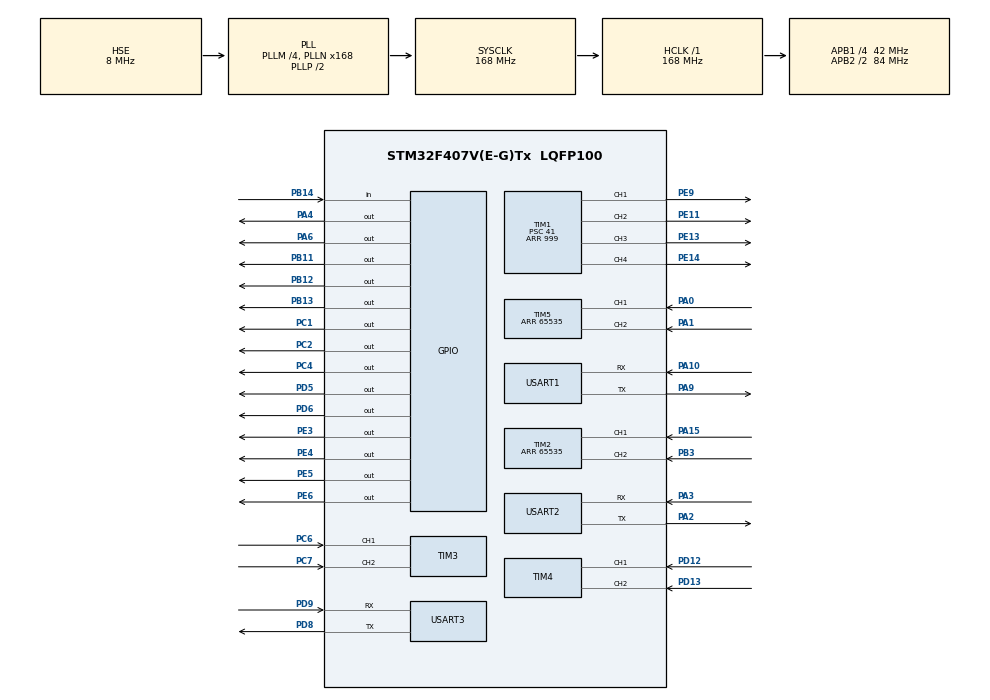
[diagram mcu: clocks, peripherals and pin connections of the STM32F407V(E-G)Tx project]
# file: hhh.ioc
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Dma.Request0=TIM1_CH1
Dma.Request1=TIM1_CH2
Dma.Request2=TIM1_CH3
Dma.Request3=TIM1_CH4/TRIG/COM
Dma.Request4=USART1_TX
Dma.TIM1_CH1.0.Direction=DMA_PERIPH_TO_MEMORY
Dma.TIM1_CH1.0.FIFOMode=DMA_FIFOMODE_DISABLE
Dma.TIM1_CH1.0.Instance=DMA2_Stream1
Dma.TIM1_CH1.0.MemDataAlignment=DMA_MDATAALIGN_HALFWORD
Dma.TIM1_CH1.0.MemInc=DMA_MINC_ENABLE
Dma.TIM1_CH1.0.Mode=DMA_NORMAL
Dma.TIM1_CH1.0.PeriphDataAlignment=DMA_PDATAALIGN_HALFWORD
Dma.TIM1_CH1.0.PeriphInc=DMA_PINC_DISABLE
Dma.TIM1_CH1.0.Priority=DMA_PRIORITY_LOW
Dma.TIM1_CH2.1.Direction=DMA_PERIPH_TO_MEMORY
Dma.TIM1_CH2.1.FIFOMode=DMA_FIFOMODE_DISABLE
Dma.TIM1_CH2.1.Instance=DMA2_Stream2
Dma.TIM1_CH2.1.MemDataAlignment=DMA_MDATAALIGN_HALFWORD
Dma.TIM1_CH2.1.MemInc=DMA_MINC_ENABLE
Dma.TIM1_CH2.1.Mode=DMA_NORMAL
Dma.TIM1_CH2.1.PeriphDataAlignment=DMA_PDATAALIGN_HALFWORD
Dma.TIM1_CH2.1.PeriphInc=DMA_PINC_DISABLE
Dma.TIM1_CH2.1.Priority=DMA_PRIORITY_LOW
Dma.TIM1_CH3.2.Direction=DMA_PERIPH_TO_MEMORY
Dma.TIM1_CH3.2.FIFOMode=DMA_FIFOMODE_DISABLE
Dma.TIM1_CH3.2.Instance=DMA2_Stream6
Dma.TIM1_CH3.2.MemDataAlignment=DMA_MDATAALIGN_HALFWORD
Dma.TIM1_CH3.2.MemInc=DMA_MINC_ENABLE
Dma.TIM1_CH3.2.Mode=DMA_NORMAL
Dma.TIM1_CH3.2.PeriphDataAlignment=DMA_PDATAALIGN_HALFWORD
Dma.TIM1_CH3.2.PeriphInc=DMA_PINC_DISABLE
Dma.TIM1_CH3.2.Priority=DMA_PRIORITY_LOW
Dma.TIM1_CH4/TRIG/COM.3.Direction=DMA_PERIPH_TO_MEMORY
Dma.TIM1_CH4/TRIG/COM.3.FIFOMode=DMA_FIFOMODE_DISABLE
Dma.TIM1_CH4/TRIG/COM.3.Instance=DMA2_Stream4
Dma.TIM1_CH4/TRIG/COM.3.MemDataAlignment=DMA_MDATAALIGN_HALFWORD
Dma.TIM1_CH4/TRIG/COM.3.MemInc=DMA_MINC_ENABLE
Dma.TIM1_CH4/TRIG/COM.3.Mode=DMA_NORMAL
Dma.TIM1_CH4/TRIG/COM.3.PeriphDataAlignment=DMA_PDATAALIGN_HALFWORD
Dma.TIM1_CH4/TRIG/COM.3.PeriphInc=DMA_PINC_DISABLE
Dma.TIM1_CH4/TRIG/COM.3.Priority=DMA_PRIORITY_LOW
Dma.USART1_TX.4.Direction=DMA_MEMORY_TO_PERIPH
Dma.USART1_TX.4.FIFOMode=DMA_FIFOMODE_DISABLE
Dma.USART1_TX.4.Instance=DMA2_Stream7
Dma.USART1_TX.4.MemDataAlignment=DMA_MDATAALIGN_BYTE
Dma.USART1_TX.4.MemInc=DMA_MINC_ENABLE
Dma.USART1_TX.4.Mode=DMA_NORMAL
Dma.USART1_TX.4.PeriphDataAlignment=DMA_PDATAALIGN_BYTE
Dma.USART1_TX.4.PeriphInc=DMA_PINC_DISABLE
Dma.USART1_TX.4.Priority=DMA_PRIORITY_LOW
Mcu.Family=STM32F4
Mcu.Name=STM32F407V(E-G)Tx
Mcu.Package=LQFP100
NVIC.DMA2_Stream1_IRQn=true\:0\:0\:false\:false\:true\:false\:true\:true
NVIC.DMA2_Stream2_IRQn=true\:0\:0\:false\:false\:true\:false\:true\:true
NVIC.DMA2_Stream4_IRQn=true\:0\:0\:false\:false\:true\:false\:true\:true
NVIC.DMA2_Stream6_IRQn=true\:0\:0\:false\:false\:true\:false\:true\:true
NVIC.DMA2_Stream7_IRQn=true\:0\:0\:false\:false\:true\:false\:true\:true
NVIC.PriorityGroup=NVIC_PRIORITYGROUP_4
NVIC.TIM1_UP_TIM10_IRQn=true\:15\:0\:false\:false\:true\:false\:true\:true
NVIC.TIM6_DAC_IRQn=true\:10\:0\:true\:false\:true\:true\:true\:true
NVIC.TIM7_IRQn=true\:9\:0\:true\:false\:true\:true\:true\:true
NVIC.TimeBase=TIM1_UP_TIM10_IRQn
NVIC.TimeBaseIP=TIM10
PA0-WKUP.Signal=S_TIM5_CH1
PA1.Signal=S_TIM5_CH2
PA10.Mode=Asynchronous
PA10.Signal=USART1_RX
PA13.Mode=Serial_Wire
PA13.Signal=SYS_JTMS-SWDIO
PA14.Mode=Serial_Wire
PA14.Signal=SYS_JTCK-SWCLK
PA15.Signal=S_TIM2_CH1_ETR
PA2.Mode=Asynchronous
PA2.Signal=USART2_TX
PA3.Mode=Asynchronous
PA3.Signal=USART2_RX
PA4.Signal=GPIO_Output
PA6.Signal=GPIO_Output
PA9.Mode=Asynchronous
PA9.Signal=USART1_TX
PB11.Signal=GPIO_Output
PB12.Signal=GPIO_Output
PB13.Signal=GPIO_Output
PB14.Signal=GPIO_Input
PB3.Signal=S_TIM2_CH2
PC1.Signal=GPIO_Output
PC14-OSC32_IN.Mode=LSE-External-Oscillator
PC14-OSC32_IN.Signal=RCC_OSC32_IN
PC15-OSC32_OUT.Mode=LSE-External-Oscillator
PC15-OSC32_OUT.Signal=RCC_OSC32_OUT
PC2.Signal=GPIO_Output
PC4.Signal=GPIO_Output
PC6.Signal=S_TIM3_CH1
PC7.Signal=S_TIM3_CH2
PD12.Signal=S_TIM4_CH1
PD13.Signal=S_TIM4_CH2
PD5.Signal=GPIO_Output
PD6.Signal=GPIO_Output
PD8.Mode=Asynchronous
PD8.Signal=USART3_TX
PD9.Mode=Asynchronous
PD9.Signal=USART3_RX
PE11.Signal=S_TIM1_CH2
PE13.Signal=S_TIM1_CH3
PE14.Signal=S_TIM1_CH4
PE3.Signal=GPIO_Output
PE4.Signal=GPIO_Output
PE5.Signal=GPIO_Output
PE6.Signal=GPIO_Output
PE9.Signal=S_TIM1_CH1
PH0-OSC_IN.Mode=HSE-External-Oscillator
PH0-OSC_IN.Signal=RCC_OSC_IN
PH1-OSC_OUT.Mode=HSE-External-Oscillator
PH1-OSC_OUT.Signal=RCC_OSC_OUT
ProjectManager.HeapSize=0x200
ProjectManager.StackSize=0x400
ProjectManager.TargetToolchain=MDK-ARM V5.32
RCC.48MHZClocksFreq_Value=48000000
RCC.AHBFreq_Value=168000000
RCC.APB1CLKDivider=RCC_HCLK_DIV4
RCC.APB1Freq_Value=42000000
RCC.APB1TimFreq_Value=84000000
RCC.APB2CLKDivider=RCC_HCLK_DIV2
RCC.APB2Freq_Value=84000000
RCC.APB2TimFreq_Value=168000000
RCC.CortexFreq_Value=168000000
RCC.HCLKFreq_Value=168000000
RCC.HSE_VALUE=8000000
RCC.HSI_VALUE=16000000
RCC.PLLM=4
RCC.PLLN=168
RCC.PLLQ=7
RCC.PLLSourceVirtual=RCC_PLLSOURCE_HSE
RCC.SYSCLKFreq_VALUE=168000000
RCC.SYSCLKSource=RCC_SYSCLKSOURCE_PLLCLK
RCC.VCOOutputFreq_Value=336000000
SH.S_TIM1_CH1.0=TIM1_CH1,PWM Generation1 CH1
SH.S_TIM1_CH2.0=TIM1_CH2,PWM Generation2 CH2
SH.S_TIM1_CH3.0=TIM1_CH3,PWM Generation3 CH3
SH.S_TIM1_CH4.0=TIM1_CH4,PWM Generation4 CH4
SH.S_TIM2_CH1_ETR.0=TIM2_CH1,Encoder_Interface
SH.S_TIM2_CH2.0=TIM2_CH2,Encoder_Interface
SH.S_TIM3_CH1.0=TIM3_CH1,Encoder_Interface
SH.S_TIM3_CH2.0=TIM3_CH2,Encoder_Interface
SH.S_TIM4_CH1.0=TIM4_CH1,Encoder_Interface
SH.S_TIM4_CH2.0=TIM4_CH2,Encoder_Interface
SH.S_TIM5_CH1.0=TIM5_CH1,Encoder_Interface
SH.S_TIM5_CH2.0=TIM5_CH2,Encoder_Interface
TIM1.Channel-PWM\ Generation1\ CH1=TIM_CHANNEL_1
TIM1.Channel-PWM\ Generation2\ CH2=TIM_CHANNEL_2
TIM1.Channel-PWM\ Generation3\ CH3=TIM_CHANNEL_3
TIM1.Channel-PWM\ Generation4\ CH4=TIM_CHANNEL_4
TIM1.Period=999
TIM1.Prescaler=41
TIM2.EncoderMode=TIM_ENCODERMODE_TI12
TIM2.Period=65535
TIM3.EncoderMode=TIM_ENCODERMODE_TI12
TIM4.EncoderMode=TIM_ENCODERMODE_TI12
TIM5.EncoderMode=TIM_ENCODERMODE_TI12
TIM5.Period=65535
TIM6.AutoReloadPreload=TIM_AUTORELOAD_PRELOAD_DISABLE
TIM6.Period=99
TIM6.Prescaler=168-1
TIM7.Period=999
TIM7.Prescaler=168-1
USART1.VirtualMode=VM_ASYNC
USART2.VirtualMode=VM_ASYNC
USART3.VirtualMode=VM_ASYNC
VP_SYS_VS_tim10.Mode=TIM10
VP_TIM11_VS_ClockSourceINT.Mode=Enable_Timer
VP_TIM6_VS_ClockSourceINT.Mode=Enable_Timer
VP_TIM7_VS_ClockSourceINT.Mode=Enable_Timer
board=custom

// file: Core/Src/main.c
/* USER CODE BEGIN Header */
/**
 ******************************************************************************
 * @file           : main.c
 * @brief          : Main program body
 ******************************************************************************
 * @attention
 *
 * Copyright (c) 2024 STMicroelectronics.
 * All rights reserved.
 *
 * This software is licensed under terms that can be found in the LICENSE file
 * in the root directory of this software component.
 * If no LICENSE file comes with this software, it is provided AS-IS.
 *
 ******************************************************************************
 */
/* USER CODE END Header */
#include "main.h"
#include "dma.h"
#include "tim.h"
#include "usart.h"
#include "gpio.h"

/* USER CODE BEGIN Includes */
#include "vofa.h"
#include "pid.h"
#include "motor.h"
#include "APP_classic.h"
/* USER CODE END Includes */

void SystemClock_Config(void);

/* USER CODE BEGIN 0 */
MG513 A_motor;
MG513 B_motor;
MG513 C_motor;
MG513 D_motor;
Car car;
float RC[3] = {0, 141.42, 0};
/* USER CODE END 0 */

int main(void)
{

  /* MCU Configuration--------------------------------------------------------*/

  /* Reset of all peripherals, Initializes the Flash interface and the Systick. */
  HAL_Init();

  /* Configure the system clock */
  SystemClock_Config();

  /* Initialize all configured peripherals */
  MX_GPIO_Init();
  MX_DMA_Init();
  MX_TIM1_Init();
  MX_TIM2_Init();
  MX_TIM3_Init();
  MX_TIM4_Init();
  MX_TIM5_Init();
  MX_TIM6_Init();
  MX_USART1_UART_Init();
  MX_TIM7_Init();
  MX_TIM11_Init();
  MX_USART2_UART_Init();
  MX_USART3_UART_Init();
  /* USER CODE BEGIN 2 */
  // 电机初始化
  MG513_Init(&A_motor, &A_motor.pid1, MOTOR_SPEED, 200.0f, 1.0f, 0.0f, 0.0f, 700.0f, 200.0f);
  MG513_Init(&B_motor, &B_motor.pid1, MOTOR_SPEED, 200.0f, 1.04122f, 0.0f, 0.0f, 700.0f, 200.0f);
  MG513_Init(&C_motor, &C_motor.pid1, MOTOR_SPEED, 200.0f, 1.000008f, 0.0f, 0.0f, 700.0f, 200.0f);
  MG513_Init(&D_motor, &D_motor.pid1, MOTOR_SPEED, 200.0f, 1.000007f, 0.0f, 0.0f, 700.0f, 200.0f);
  Classic_init(&car, &A_motor, &B_motor, &C_motor, &D_motor);
  MG513_Motor_pwm_init();
  /* USER CODE END 2 */

  /* Infinite loop */
  /* USER CODE BEGIN WHILE */
  while (1)
  {
    classic_control(&car, RC[0], RC[1], RC[2]);
    printf("100,-100,%f,%f,%f,%f\n", A_motor.pid1.out, B_motor.pid1.out, C_motor.pid1.out, D_motor.pid1.out);
    /* USER CODE END WHILE */

  }
}

void SystemClock_Config(void)
{
  RCC_OscInitTypeDef RCC_OscInitStruct = {0};
  RCC_ClkInitTypeDef RCC_ClkInitStruct = {0};

  /** Configure the main internal regulator output voltage
  */
  __HAL_RCC_PWR_CLK_ENABLE();
  __HAL_PWR_VOLTAGESCALING_CONFIG(PWR_REGULATOR_VOLTAGE_SCALE1);

  /** Initializes the RCC Oscillators according to the specified parameters
  * in the RCC_OscInitTypeDef structure.
  */
  RCC_OscInitStruct.OscillatorType = RCC_OSCILLATORTYPE_HSE;
  RCC_OscInitStruct.HSEState = RCC_HSE_ON;
  RCC_OscInitStruct.PLL.PLLState = RCC_PLL_ON;
  RCC_OscInitStruct.PLL.PLLSource = RCC_PLLSOURCE_HSE;
  RCC_OscInitStruct.PLL.PLLM = 4;
  RCC_OscInitStruct.PLL.PLLN = 168;
  RCC_OscInitStruct.PLL.PLLP = RCC_PLLP_DIV2;
  RCC_OscInitStruct.PLL.PLLQ = 7;
  if (HAL_RCC_OscConfig(&RCC_OscInitStruct) != HAL_OK)
  {
    Error_Handler();
  }

  /** Initializes the CPU, AHB and APB buses clocks
  */
  RCC_ClkInitStruct.ClockType = RCC_CLOCKTYPE_HCLK|RCC_CLOCKTYPE_SYSCLK
                              |RCC_CLOCKTYPE_PCLK1|RCC_CLOCKTYPE_PCLK2;
  RCC_ClkInitStruct.SYSCLKSource = RCC_SYSCLKSOURCE_PLLCLK;
  RCC_ClkInitStruct.AHBCLKDivider = RCC_SYSCLK_DIV1;
  RCC_ClkInitStruct.APB1CLKDivider = RCC_HCLK_DIV4;
  RCC_ClkInitStruct.APB2CLKDivider = RCC_HCLK_DIV2;

  if (HAL_RCC_ClockConfig(&RCC_ClkInitStruct, FLASH_LATENCY_5) != HAL_OK)
  {
    Error_Handler();
  }
}

void HAL_TIM_PeriodElapsedCallback(TIM_HandleTypeDef *htim)
{
  /* USER CODE BEGIN Callback 0 */
  if (htim == &htim6)
  {
    MG513_encodervalue_get(A_motor.cout, &htim2);
    MG513_encodervalue_get(B_motor.cout, &htim3);
    MG513_encodervalue_get(C_motor.cout, &htim4);
    MG513_encodervalue_get(D_motor.cout, &htim5);
  }
  if (htim == &htim7) // 100HZ
  {
    pids *pid[4];
    float *cout[4];
    for (int i = 0; i < 4; i++)
    {
      pid[i] = &car.motorgroup[i]->pid1;
      cout[i] = car.motorgroup[i]->cout;
    }
    MG513_calculate(pid, cout);
    MG513_pwm_send(pid);
  }
  if (htim == &htim11)
  {
  }

  /* USER CODE END Callback 0 */
  if (htim->Instance == TIM10) {
    HAL_IncTick();
  }
}

void Error_Handler(void)
{
  __disable_irq();
  while (1)
  {
  }
}
